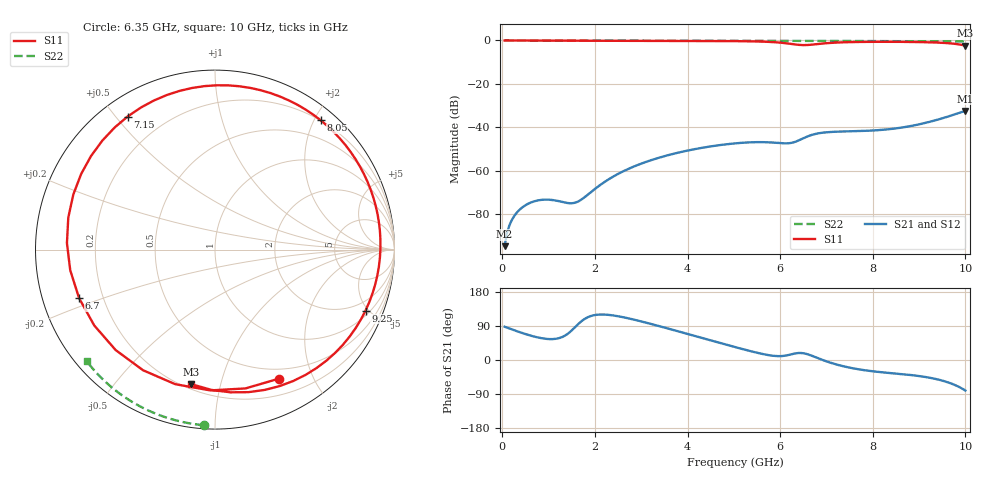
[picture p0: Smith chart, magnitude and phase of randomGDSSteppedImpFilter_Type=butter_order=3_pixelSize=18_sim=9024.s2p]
! freq	dB(S11)	phase(S11)	dB(S12)	phase(S12)
!  dB(S21)	phase(S21)	dB(S22)	phase(S22)
!S-par simulation data
#  GHz  S  DB  R 50
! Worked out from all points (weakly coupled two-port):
!   200 points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, 50 MHz to 10 GHz, reference 50 ohm
!   highest |S21| = -32.43 dB at 10 GHz (marker M1); lowest = -94.7 dB at 50 MHz (marker M2)
!   lowest |S11| = -2.4 dB at 10 GHz (marker M3), VSWR 7.37, Z = 11.4 - j40.6 ohm
!   |S11| at or under -10 dB: nowhere
!   |S22| runs from -0.5 to 0.0 dB; largest |S21 - S12| = 0
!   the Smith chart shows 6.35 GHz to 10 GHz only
!   S11 on the Smith chart (normalised r, x): 6.35 GHz: 0.38, -1.54; 6.7 GHz: 0.11, -0.17; 7.15 GHz: 0.08, +0.54; 8.05 GHz: 0.20, +2.09; 9.25 GHz: 1.28, -4.80; 10 GHz: 0.23, -0.81
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0.05  -0.00 -3.8  -94.75 87.8  -94.75 87.8  -0.00 -0.8
0.9  -0.08 -64.6  -73.33 56.5  -73.33 56.5  -0.02 -14.4
1.75  -0.12 -114.8  -72.65 106.0  -72.65 106.0  -0.04 -27.8
2.55  -0.14 -153.1  -60.91 114.4  -60.91 114.4  -0.05 -40.1
3.4  -0.17 171.0  -53.91 89.0  -53.91 89.0  -0.07 -52.8
4.25  -0.22 135.3  -49.68 60.3  -49.68 60.3  -0.09 -65.1
5.05  -0.32 95.9  -47.36 33.3  -47.36 33.3  -0.12 -76.3
5.6  -0.52 57.3  -46.83 16.4  -46.83 16.4  -0.14 -83.8
6  -1.00 10.6  -47.29 10.2  -47.29 10.2  -0.16 -89.1
6.2  -1.49 -26.7  -47.31 13.7  -47.31 13.7  -0.16 -91.7
6.35  -1.92 -63.7  -46.50 17.8  -46.50 17.8  -0.17 -93.7
6.5  -2.14 -106.4  -45.05 17.8  -45.05 17.8  -0.18 -95.7
6.7  -1.89 -160.3  -43.39 10.5  -43.39 10.5  -0.19 -98.2
6.9  -1.44 158.8  -42.53 0.8  -42.53 0.8  -0.20 -100.8
7.15  -1.04 123.3  -42.09 -9.5  -42.09 -9.5  -0.22 -104.0
7.55  -0.74 85.3  -41.82 -21.4  -41.82 -21.4  -0.24 -109.0
8.05  -0.63 50.7  -41.41 -30.5  -41.41 -30.5  -0.28 -115.3
8.35  -0.62 32.6  -40.88 -34.2  -40.88 -34.2  -0.30 -119.0
8.8  -0.68 6.2  -39.50 -39.3  -39.50 -39.3  -0.34 -124.5
9.25  -0.87 -22.1  -37.36 -47.3  -37.36 -47.3  -0.39 -129.9
9.65  -1.30 -54.1  -34.88 -60.1  -34.88 -60.1  -0.43 -134.8
10  -2.37 -100.1  -32.43 -80.6  -32.43 -80.6  -0.47 -139.0
